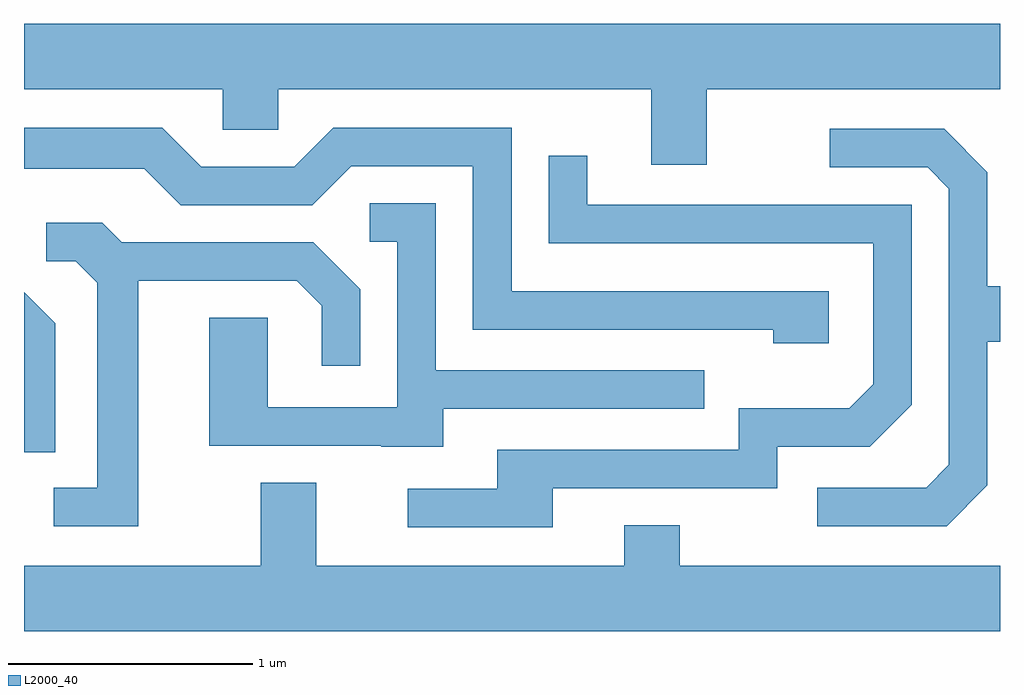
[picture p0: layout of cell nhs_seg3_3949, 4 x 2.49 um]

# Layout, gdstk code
import gdstk
lib = gdstk.Library(unit=1e-6, precision=1e-09)
def P(c, l, *ps):  # polygons
    for p in ps: c.add(gdstk.Polygon(p, *l))
L2000_40 = (2000, 40)

nhs_seg3_3949 = lib.new_cell('nhs_seg3_3949')
P(nhs_seg3_3949, L2000_40, [(304.409,1128.236),(305.611,1128.236),(305.611,1128.504),(301.611,1128.504),(301.611,1128.236),(302.426,1128.236),(302.426,1128.071),(302.654,1128.071),(302.654,1128.236),(304.181,1128.236),(304.181,1127.926),(304.409,1127.926)],
  [(304.909,1127.409),(303.609,1127.409),(303.609,1128.079),(302.879,1128.079),(302.719,1127.919),(302.337,1127.919),(302.177,1128.079),(301.611,1128.079),(301.611,1127.911),(302.104,1127.911),(302.254,1127.761),(302.792,1127.761),(302.952,1127.921),(303.451,1127.921),(303.451,1127.251),(304.681,1127.251),(304.681,1127.196),(304.909,1127.196)],
  [(305.559,1126.614),(305.559,1127.201),(305.611,1127.201),(305.611,1127.429),(305.559,1127.429),(305.559,1127.897),(305.382,1128.074),(304.913,1128.074),(304.913,1127.916),(305.314,1127.916),(305.401,1127.829),(305.401,1126.697),(305.309,1126.604),(304.863,1126.604),(304.863,1126.446),(305.392,1126.446)],
  [(303.779,1126.601),(304.699,1126.601),(304.699,1126.771),(305.077,1126.771),(305.249,1126.944),(305.249,1127.764),(303.919,1127.764),(303.919,1127.963),(303.761,1127.963),(303.761,1127.606),(305.091,1127.606),(305.091,1127.027),(304.994,1126.929),(304.541,1126.929),(304.541,1126.759),(303.551,1126.759),(303.551,1126.599),(303.183,1126.599),(303.183,1126.441),(303.779,1126.441)],
  [(303.329,1126.926),(304.398,1126.926),(304.398,1127.084),(303.299,1127.084),(303.299,1127.769),(303.028,1127.769),(303.028,1127.611),(303.141,1127.611),(303.141,1126.934),(302.609,1126.934),(302.609,1127.299),(302.371,1127.299),(302.371,1126.776),(303.075,1126.776),(303.075,1126.771),(303.329,1126.771)],
  [(302.079,1127.451),(302.729,1127.451),(302.831,1127.349),(302.831,1127.103),(302.989,1127.103),(302.989,1127.417),(302.797,1127.609),(302.012,1127.609),(301.932,1127.689),(301.703,1127.689),(301.703,1127.531),(301.824,1127.531),(301.911,1127.444),(301.911,1126.604),(301.733,1126.604),(301.733,1126.446),(302.079,1126.446)],
  [(301.739,1127.277),(301.611,1127.405),(301.611,1126.748),(301.739,1126.748)],
  [(305.611,1126.284),(304.299,1126.284),(304.299,1126.449),(304.071,1126.449),(304.071,1126.284),(302.809,1126.284),(302.809,1126.624),(302.581,1126.624),(302.581,1126.284),(301.611,1126.284),(301.611,1126.016),(305.611,1126.016)])

lib.write_gds('nhs_seg3_3949.gds')
